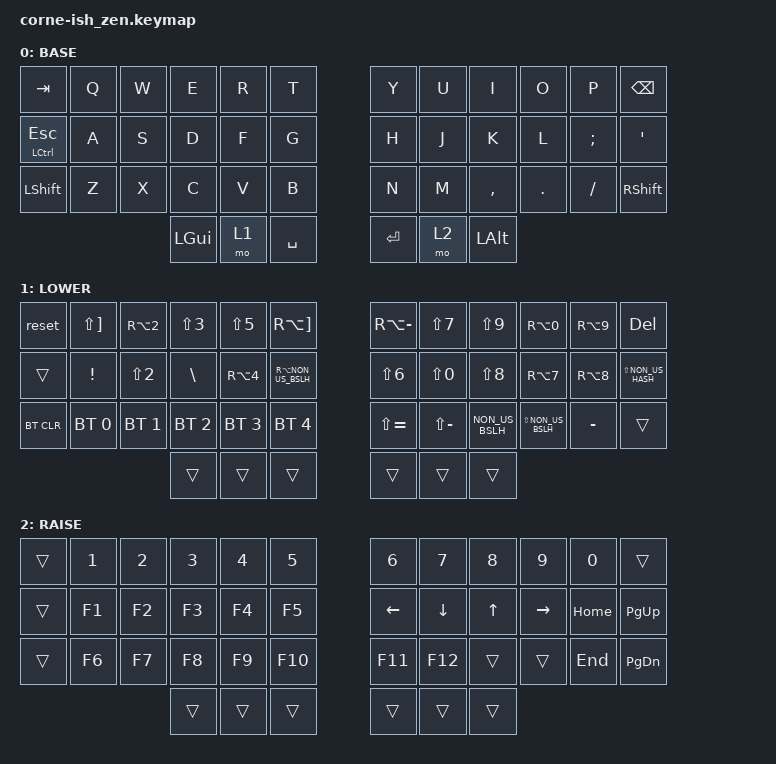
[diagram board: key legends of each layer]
/*
*
* Copyright (c) 2021 Darryl deHaan
* SPDX-License-Identifier: MIT
*
*/

#include <behaviors.dtsi>
#include <dt-bindings/zmk/keys.h>
#include <dt-bindings/zmk/bt.h>

/ {
        keymap {
                compatible = "zmk,keymap";

                default_layer {
                        label = "BASE";
// -----------------------------------------------------------------------------------------
// |  TAB |  Q  |  W  |  E  |  R  |  T  |   |  Y  |  U   |  I  |  O  |  P  | BKSP|
// |  ESC |  A  |  S  |  D  |  F  |  G  |   |  H  |  J   |  K  |  L  |  Ö  |  Ä  |
// | SHFT |  Z  |  X  |  C  |  V  |  B  |   |  N  |  M   |  ,  |  .  |  -  | SHFT|
//                    | GUI | LWR | SPC |   | ENT | RSE  | ALT |
                        bindings = <
   &kp TAB       &kp Q &kp W &kp E    &kp R &kp T     &kp Y   &kp U &kp I     &kp O   &kp P    &kp BSPC
   &mt LCTRL ESC &kp A &kp S &kp D    &kp F &kp G     &kp H   &kp J &kp K     &kp L   &kp SEMI &kp SQT
   &kp LSHFT     &kp Z &kp X &kp C    &kp V &kp B     &kp N   &kp M &kp COMMA &kp DOT &kp FSLH &kp RSHFT
                             &kp LGUI &mo 1 &kp SPACE &kp RET &mo 2 &kp LALT
                        >;
                };
                lower_layer {
                        label = "LOWER";
// -----------------------------------------------------------------------------------------
// | RESET|  ^  |  @  |  #  |  %  |  ~  |   |  \  |  /  |  )  |  }  |  ]  | DEL |
// |      |  !  |  "  |  '  |  $  |  |  |   |  &  |  =  |  (  |  {  |  [  |  *  |
// | BTCLR| BT1 | BT2 | BT3 | BT4 | BT5 |   |  `  |  ?  |  <  |  >  |  +  |     |
//                    |     |     |     |   |     |     |     |
                        bindings = <
   &reset     &kp LS(RBKT) &kp RA(N2)   &kp LS(N3)   &kp LS(N5)   &kp RA(RBKT)        &kp RA(MINUS) &kp LS(N7)    &kp LS(N9)      &kp RA(N0)          &kp RA(N9) &kp DEL
   &trans     &kp EXCL     &kp LS(N2)   &kp BSLH     &kp RA(N4)   &kp RA(NON_US_BSLH) &kp LS(N6)    &kp LS(N0)    &kp LS(N8)      &kp RA(N7)          &kp RA(N8) &kp LS(NON_US_HASH)
   &bt BT_CLR &bt BT_SEL 0 &bt BT_SEL 1 &bt BT_SEL 2 &bt BT_SEL 3 &bt BT_SEL 4        &kp LS(EQUAL) &kp LS(MINUS) &kp NON_US_BSLH &kp LS(NON_US_BSLH) &kp MINUS  &trans
                                        &trans       &trans       &trans              &trans        &trans        &trans
                        >;
                };
                raise_layer {
                        label = "RAISE";
// -----------------------------------------------------------------------------------------
// |      |  1  |  2  |  3  |  4  |  5  |   |  6  |  7  |  8  |  9  |  0  |     |
// |      |  F1 |  F2 |  F3 |  F4 |  F5 |   | LFT | DWN |  UP | RGT | HOME| PGUP|
// |      |  F6 |  F7 |  F8 |  F9 | F10 |   | F11 | F12 |     |     | END | PGDN|
//                    |     |     |     |   |     |     |     |
                        bindings = <
   &trans &kp N1 &kp N2 &kp N3 &kp N4 &kp N5  &kp N6   &kp N7   &kp N8 &kp N9    &kp N0   &trans
   &trans &kp F1 &kp F2 &kp F3 &kp F4 &kp F5  &kp LEFT &kp DOWN &kp UP &kp RIGHT &kp HOME &kp PG_UP
   &trans &kp F6 &kp F7 &kp F8 &kp F9 &kp F10 &kp F11  &kp F12  &trans &trans    &kp END  &kp PG_DN
                        &trans &trans &trans  &trans   &trans   &trans
                        >;
                };
        };
};
